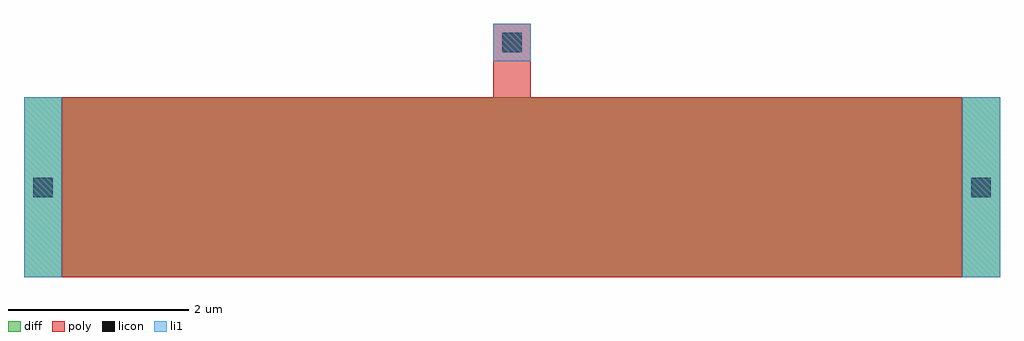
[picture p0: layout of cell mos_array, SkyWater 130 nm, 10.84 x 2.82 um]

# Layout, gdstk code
import gdstk
lib = gdstk.Library(unit=1e-6, precision=1e-09)
def R(c, l, rs):  # rectangles x0, y0, x1, y1
    for r in rs: c.add(gdstk.rectangle(r[:2], r[2:], *l))
diff = (65, 20)
poly = (66, 20)
licon = (66, 44)
li1 = (67, 20)

mos_array = lib.new_cell('mos_array')
R(mos_array, diff, [(0,0,10.84,2)])
R(mos_array, poly, [(0.42,0,10.42,2), (5.21,2,5.63,2.82)])
R(mos_array, licon, [(0.1,0.89,0.32,1.11), (10.52,0.89,10.74,1.11), (5.31,2.5,5.53,2.72)])
R(mos_array, li1, [(0,0,0.42,2), (10.42,0,10.84,2), (5.21,2.4,5.63,2.82)])

lib.write_gds('mos_array.gds')
